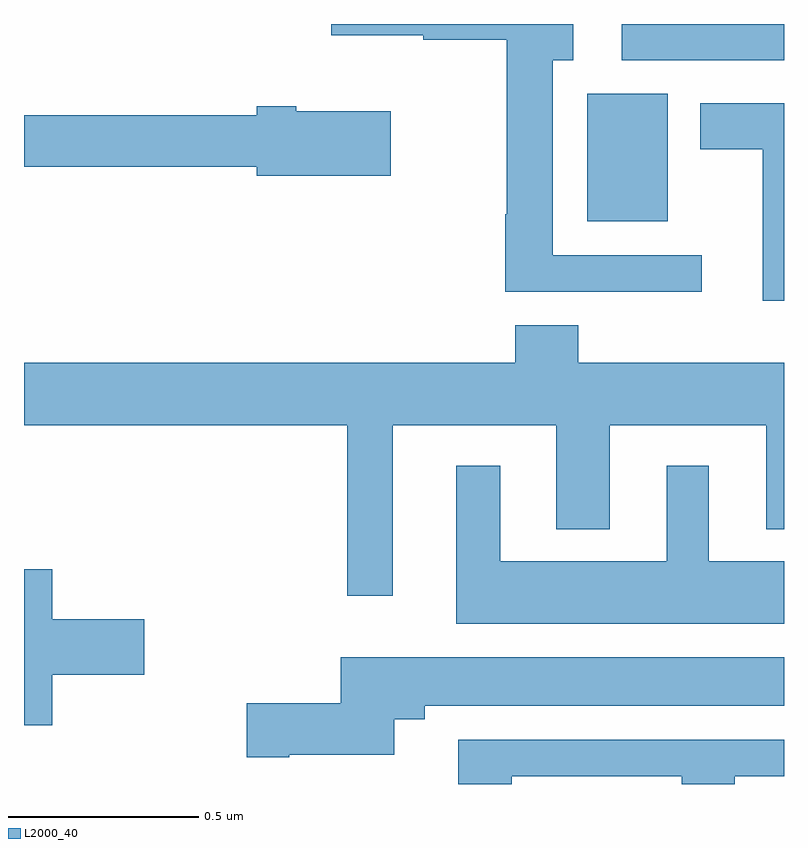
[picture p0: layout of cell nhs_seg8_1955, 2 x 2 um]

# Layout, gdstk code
import gdstk
lib = gdstk.Library(unit=1e-6, precision=1e-09)
def R(c, l, rs):  # rectangles x0, y0, x1, y1
    for r in rs: c.add(gdstk.rectangle(r[:2], r[2:], *l))
def P(c, l, *ps):  # polygons
    for p in ps: c.add(gdstk.Polygon(p, *l))
L2000_40 = (2000, 40)

nhs_seg8_1955 = lib.new_cell('nhs_seg8_1955')
R(nhs_seg8_1955, L2000_40, [(138.482,1106.381,138.694,1106.716), (138.573,1106.805,139,1106.9)])
P(nhs_seg8_1955, L2000_40, [(138.784,1106.292),(138.391,1106.292),(138.391,1106.804),(138.445,1106.804),(138.445,1106.9),(137.808,1106.9),(137.808,1106.87),(138.051,1106.87),(138.051,1106.858),(138.271,1106.858),(138.271,1106.399),(138.266,1106.399),(138.266,1106.195),(138.784,1106.195)],
  [(139,1106.692),(138.779,1106.692),(138.779,1106.57),(138.944,1106.57),(138.944,1106.172),(139,1106.172)],
  [(137.965,1106.671),(137.716,1106.671),(137.716,1106.684),(137.612,1106.684),(137.612,1106.66),(137,1106.66),(137,1106.524),(137.612,1106.524),(137.612,1106.501),(137.965,1106.501)],
  [(137.971,1105.844),(138.401,1105.844),(138.401,1105.571),(138.541,1105.571),(138.541,1105.844),(138.953,1105.844),(138.953,1105.571),(139,1105.571),(139,1106.008),(138.458,1106.008),(138.458,1106.107),(138.293,1106.107),(138.293,1106.008),(137,1106.008),(137,1105.844),(137.85,1105.844),(137.85,1105.395),(137.971,1105.395)],
  [(139,1105.486),(138.802,1105.486),(138.802,1105.738),(138.692,1105.738),(138.692,1105.486),(138.253,1105.486),(138.253,1105.738),(138.137,1105.738),(138.137,1105.322),(139,1105.322)],
  [(137.074,1105.187),(137.317,1105.187),(137.317,1105.334),(137.074,1105.334),(137.074,1105.465),(137,1105.465),(137,1105.055),(137.074,1105.055)],
  [(137.698,1104.977),(137.974,1104.977),(137.974,1105.07),(138.055,1105.07),(138.055,1105.106),(139,1105.106),(139,1105.234),(137.834,1105.234),(137.834,1105.112),(137.586,1105.112),(137.586,1104.97),(137.698,1104.97)],
  [(138.283,1104.921),(138.731,1104.921),(138.731,1104.9),(138.871,1104.9),(138.871,1104.921),(139,1104.921),(139,1105.017),(138.143,1105.017),(138.143,1104.9),(138.283,1104.9)])

lib.write_gds('nhs_seg8_1955.gds')
